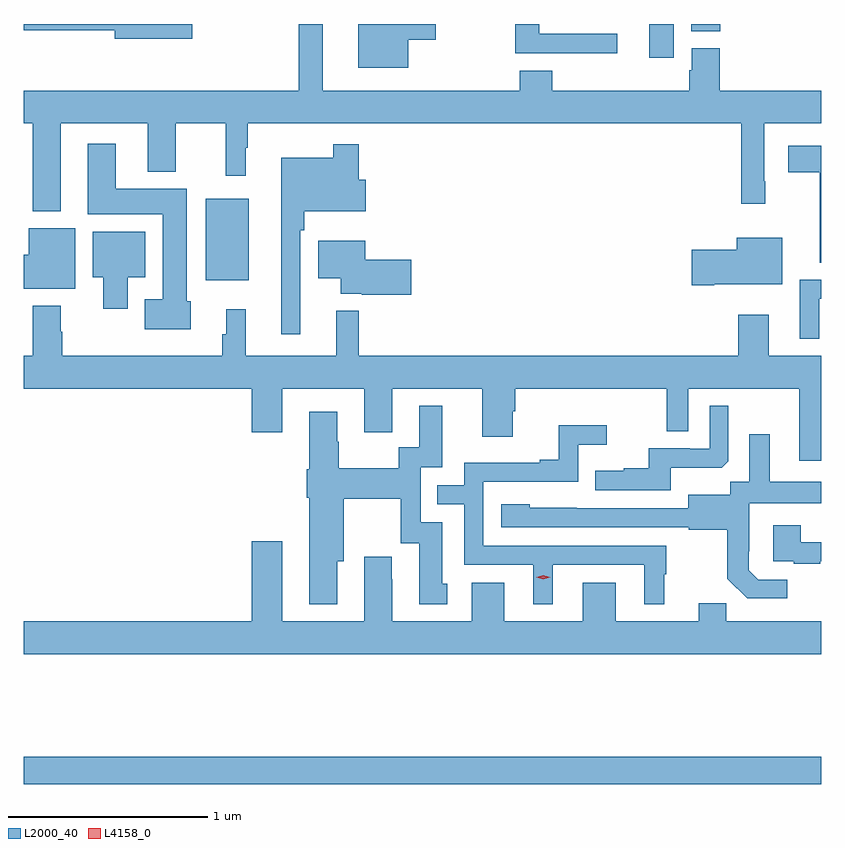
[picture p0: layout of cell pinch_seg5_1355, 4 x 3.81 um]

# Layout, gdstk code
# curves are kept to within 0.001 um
import gdstk
lib = gdstk.Library(unit=1e-6, precision=1e-09)
def R(c, l, rs):  # rectangles x0, y0, x1, y1
    for r in rs: c.add(gdstk.rectangle(r[:2], r[2:], *l))
def P(c, l, *ps):  # polygons
    for p in ps: c.add(gdstk.Polygon(p, *l))
L2000_40 = (2000, 40)
L4158_0 = (4158, 0)

pinch_seg5_1355 = lib.new_cell('pinch_seg5_1355')
R(pinch_seg5_1355, L2000_40, [(201.296,905.392,205.296,905.528), (202.208,907.919,202.423,908.329), (204.434,909.036,204.556,909.206), (204.644,909.169,204.791,909.206)])
P(pinch_seg5_1355, L2000_40, [(202.141,909.206),(201.296,909.206),(201.296,909.174),(201.752,909.174),(201.752,909.131),(202.141,909.131)],
  [(203.224,909.128),(203.362,909.128),(203.362,909.206),(202.973,909.206),(202.973,908.987),(203.224,908.987)],
  [(204.274,909.156),(203.881,909.156),(203.881,909.206),(203.761,909.206),(203.761,909.059),(204.274,909.059)],
  [(201.296,908.708),(201.341,908.708),(201.341,908.267),(201.481,908.267),(201.481,908.708),(201.917,908.708),(201.917,908.465),(202.057,908.465),(202.057,908.708),(202.309,908.708),(202.309,908.445),(202.408,908.445),(202.408,908.585),(202.42,908.585),(202.42,908.708),(204.895,908.708),(204.895,908.304),(205.016,908.304),(205.016,908.416),(205.011,908.416),(205.011,908.708),(205.296,908.708),(205.296,908.872),(204.788,908.872),(204.788,909.084),(204.647,909.084),(204.647,908.973),(204.635,908.973),(204.635,908.872),(203.948,908.872),(203.948,908.971),(203.783,908.971),(203.783,908.872),(202.795,908.872),(202.795,909.206),(202.674,909.206),(202.674,908.872),(201.296,908.872)],
  [(202.132,907.815),(202.114,907.815),(202.114,908.38),(201.757,908.38),(201.757,908.605),(201.617,908.605),(201.617,908.252),(201.992,908.252),(201.992,907.825),(201.902,907.825),(201.902,907.673),(202.132,907.673)],
  [(202.683,908.171),(202.703,908.171),(202.703,908.267),(203.011,908.267),(203.011,908.425),(202.976,908.425),(202.976,908.602),(202.848,908.602),(202.848,908.536),(202.586,908.536),(202.586,907.65),(202.683,907.65)],
  [(205.296,908.596),(205.131,908.596),(205.131,908.462),(205.289,908.462),(205.289,908.008),(205.296,908.008)],
  [(201.553,908.182),(201.32,908.182),(201.32,908.048),(201.296,908.048),(201.296,907.877),(201.553,907.877)],
  [(201.817,907.934),(201.904,907.934),(201.904,908.164),(201.641,908.164),(201.641,907.934),(201.695,907.934),(201.695,907.776),(201.817,907.776)],
  [(204.76,907.901),(205.102,907.901),(205.102,908.134),(204.872,908.134),(204.872,908.072),(204.648,908.072),(204.648,907.894),(204.76,907.894)],
  [(203.239,908.024),(203.008,908.024),(203.008,908.119),(202.772,908.119),(202.772,907.931),(202.886,907.931),(202.886,907.853),(202.99,907.853),(202.99,907.848),(203.239,907.848)],
  [(205.288,907.827),(205.296,907.827),(205.296,907.923),(205.19,907.923),(205.19,907.626),(205.288,907.626)],
  [(205.296,907.54),(205.033,907.54),(205.033,907.747),(204.881,907.747),(204.881,907.54),(202.975,907.54),(202.975,907.768),(202.862,907.768),(202.862,907.54),(202.409,907.54),(202.409,907.774),(202.31,907.774),(202.31,907.649),(202.291,907.649),(202.291,907.54),(201.489,907.54),(201.489,907.661),(201.481,907.661),(201.481,907.792),(201.341,907.792),(201.341,907.54),(201.296,907.54),(201.296,907.376),(202.439,907.376),(202.439,907.158),(202.591,907.158),(202.591,907.376),(203.003,907.376),(203.003,907.158),(203.143,907.158),(203.143,907.376),(203.597,907.376),(203.597,907.134),(203.749,907.134),(203.749,907.263),(203.762,907.263),(203.762,907.376),(204.522,907.376),(204.522,907.162),(204.63,907.162),(204.63,907.376),(205.187,907.376),(205.187,907.014),(205.296,907.014)],
  [(204.541,906.98),(204.799,906.98),(204.831,907.011),(204.831,907.291),(204.738,907.291),(204.738,907.074),(204.638,907.074),(204.638,907.077),(204.431,907.077),(204.431,906.976),(204.307,906.976),(204.307,906.964),(204.163,906.964),(204.163,906.867),(204.541,906.867)],
  [(202.867,906.509),(202.9,906.509),(202.9,906.824),(203.187,906.824),(203.187,906.599),(203.279,906.599),(203.279,906.294),(203.419,906.294),(203.419,906.396),(203.395,906.396),(203.395,906.705),(203.286,906.705),(203.286,906.981),(203.395,906.981),(203.395,907.291),(203.279,907.291),(203.279,907.082),(203.178,907.082),(203.178,906.976),(202.875,906.976),(202.875,907.11),(202.867,907.11),(202.867,907.261),(202.727,907.261),(202.727,906.972),(202.715,906.972),(202.715,906.828),(202.727,906.828),(202.727,906.293),(202.867,906.293)],
  [(203.95,906.492),(204.41,906.492),(204.41,906.293),(204.508,906.293),(204.508,906.444),(204.52,906.444),(204.52,906.588),(203.601,906.588),(203.601,906.909),(204.078,906.909),(204.078,907.094),(204.22,907.094),(204.22,907.193),(203.98,907.193),(203.98,907.018),(203.885,907.018),(203.885,907.005),(203.505,907.005),(203.505,906.891),(203.371,906.891),(203.371,906.795),(203.505,906.795),(203.505,906.492),(203.852,906.492),(203.852,906.293),(203.95,906.293)],
  [(205.126,906.417),(204.981,906.417),(204.934,906.464),(204.934,906.559),(204.936,906.559),(204.936,906.8),(205.296,906.8),(205.296,906.91),(205.039,906.91),(205.039,907.147),(204.935,907.147),(204.935,906.908),(204.84,906.908),(204.84,906.844),(204.629,906.844),(204.629,906.777),(203.835,906.778),(203.835,906.796),(203.691,906.796),(203.691,906.681),(204.633,906.681),(204.633,906.669),(204.825,906.669),(204.825,906.423),(204.925,906.323),(205.126,906.323)],
  [(205.291,906.509),(205.296,906.509),(205.296,906.606),(205.195,906.606),(205.195,906.691),(205.055,906.691),(205.055,906.51),(205.159,906.51),(205.159,906.498),(205.291,906.498)],
  [(205.296,906.208),(204.821,906.208),(204.821,906.299),(204.683,906.299),(204.683,906.208),(204.265,906.208),(204.265,906.403),(204.101,906.403),(204.101,906.208),(203.707,906.208),(203.707,906.403),(203.543,906.403),(203.543,906.208),(203.143,906.208),(203.143,906.419),(203.141,906.419),(203.141,906.532),(203.003,906.532),(203.003,906.208),(202.591,906.208),(202.591,906.61),(202.439,906.61),(202.439,906.208),(201.296,906.208),(201.296,906.044),(205.296,906.044)])
P(pinch_seg5_1355, L4158_0, [(203.901,906.42),(203.866,906.43),(203.865,906.43),(203.866,906.43),(203.901,906.44),(203.936,906.43),(203.937,906.43),(203.936,906.43)])

lib.write_gds('pinch_seg5_1355.gds')
